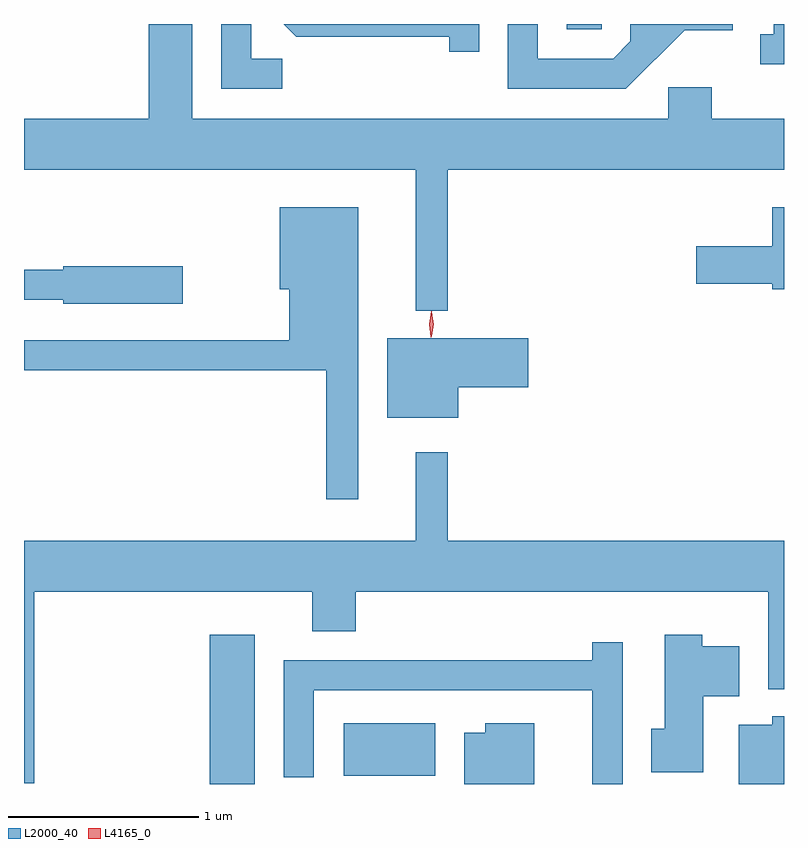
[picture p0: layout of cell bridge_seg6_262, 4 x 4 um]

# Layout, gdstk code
import gdstk
lib = gdstk.Library(unit=1e-6, precision=1e-09)
def R(c, l, rs):  # rectangles x0, y0, x1, y1
    for r in rs: c.add(gdstk.rectangle(r[:2], r[2:], *l))
def P(c, l, *ps):  # polygons
    for p in ps: c.add(gdstk.Polygon(p, *l))
L2000_40 = (2000, 40)
L4165_0 = (4165, 0)

bridge_seg6_262 = lib.new_cell('bridge_seg6_262')
R(bridge_seg6_262, L2000_40, [(1276.456,1564.563,1276.694,1565.349), (1277.161,1564.606,1277.644,1564.884), (1278.336,1568.536,1278.519,1568.563)])
P(bridge_seg6_262, L2000_40, [(1277.709,1567.796),(1279.479,1567.796),(1279.479,1568.064),(1279.099,1568.064),(1279.099,1568.229),(1278.871,1568.229),(1278.871,1568.064),(1276.364,1568.064),(1276.364,1568.563),(1276.136,1568.563),(1276.136,1568.064),(1275.479,1568.064),(1275.479,1567.796),(1277.541,1567.796),(1277.541,1567.053),(1277.709,1567.053)],
  [(1278.957,1568.531),(1279.209,1568.531),(1279.209,1568.563),(1278.671,1568.563),(1278.671,1568.472),(1278.579,1568.379),(1278.184,1568.379),(1278.184,1568.563),(1278.026,1568.563),(1278.026,1568.221),(1278.647,1568.221)],
  [(1276.838,1568.379),(1276.674,1568.379),(1276.674,1568.563),(1276.516,1568.563),(1276.516,1568.221),(1276.838,1568.221)],
  [(1277.874,1568.563),(1276.845,1568.563),(1276.912,1568.496),(1277.716,1568.496),(1277.716,1568.418),(1277.874,1568.418)],
  [(1279.479,1568.563),(1279.426,1568.563),(1279.426,1568.509),(1279.353,1568.509),(1279.353,1568.351),(1279.479,1568.351)],
  [(1279.479,1567.599),(1279.416,1567.599),(1279.416,1567.394),(1279.016,1567.394),(1279.016,1567.196),(1279.416,1567.196),(1279.416,1567.166),(1279.479,1567.166)],
  [(1277.239,1567.599),(1276.826,1567.599),(1276.826,1567.166),(1276.876,1567.166),(1276.876,1566.899),(1275.479,1566.899),(1275.479,1566.741),(1277.071,1566.741),(1277.071,1566.063),(1277.239,1566.063)],
  [(1276.314,1567.289),(1275.686,1567.289),(1275.686,1567.269),(1275.479,1567.269),(1275.479,1567.111),(1275.686,1567.111),(1275.686,1567.091),(1276.314,1567.091)],
  [(1277.764,1566.651),(1278.134,1566.651),(1278.134,1566.909),(1277.391,1566.909),(1277.391,1566.491),(1277.764,1566.491)],
  [(1275.534,1565.576),(1276.996,1565.576),(1276.996,1565.366),(1277.224,1565.366),(1277.224,1565.576),(1279.396,1565.576),(1279.396,1565.063),(1279.479,1565.063),(1279.479,1565.844),(1277.709,1565.844),(1277.709,1566.308),(1277.541,1566.308),(1277.541,1565.844),(1275.479,1565.844),(1275.479,1564.566),(1275.534,1564.566)],
  [(1279.054,1565.026),(1279.244,1565.026),(1279.244,1565.289),(1279.049,1565.289),(1279.049,1565.349),(1278.851,1565.349),(1278.851,1564.854),(1278.781,1564.854),(1278.781,1564.626),(1279.054,1564.626)],
  [(1278.629,1565.308),(1278.471,1565.308),(1278.471,1565.214),(1276.846,1565.214),(1276.846,1564.598),(1277.004,1564.598),(1277.004,1565.056),(1278.471,1565.056),(1278.471,1564.563),(1278.629,1564.563)],
  [(1279.479,1564.919),(1279.416,1564.919),(1279.416,1564.874),(1279.241,1564.874),(1279.241,1564.563),(1279.479,1564.563)],
  [(1278.164,1564.884),(1277.906,1564.884),(1277.906,1564.834),(1277.796,1564.834),(1277.796,1564.563),(1278.164,1564.563)])
P(bridge_seg6_262, L4165_0, [(1277.625,1566.92),(1277.616,1566.983),(1277.625,1567.046),(1277.625,1567.047),(1277.626,1567.046),(1277.636,1566.983),(1277.626,1566.92),(1277.626,1566.92)],
  [(1277.621,1566.914),(1277.613,1566.982),(1277.623,1567.05),(1277.623,1567.05),(1277.624,1567.05),(1277.633,1566.982),(1277.622,1566.914),(1277.622,1566.914)])

lib.write_gds('bridge_seg6_262.gds')
